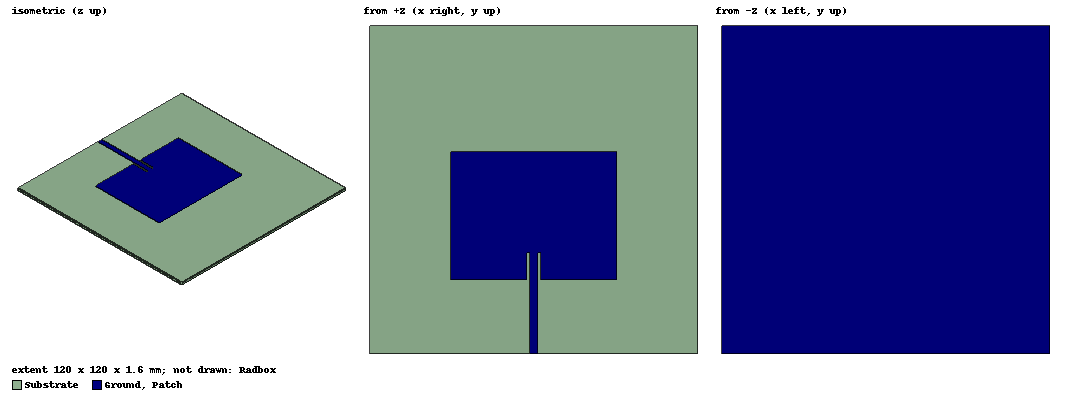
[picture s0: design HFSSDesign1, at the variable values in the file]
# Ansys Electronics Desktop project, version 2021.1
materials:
  vacuum: permittivity=1
  FR4_epoxy: permittivity=4.4 dielectric_loss_tangent=0.02

design HFSSDesign1 (HFSS, DrivenModal, model units mm)
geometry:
  Substrate [FR4_epoxy] = box(corner=(0mm, 0mm, 0mm), size=(120mm, 120mm, 1.6mm))
  Ground = rectangle(corner=(0mm, 0mm, 0mm), x_size=120mm, y_size=120mm)
  Patch = rectangle(corner=(29.5mm, 27mm, 1.6mm), x_size=61mm, y_size=47mm)
  Feedline = rectangle(corner=(58.5mm, 0mm, 1.6mm), x_size=3mm, y_size=27mm)
  Port = rectangle(corner=(58.5mm, 0mm, 1.6mm), z_size=-1.6mm, x_size=3mm)
  Radbox [vacuum] = box(corner=(-90mm, -90mm, -100mm), size=(300mm, 300mm, 200mm))
  If = rectangle(corner=(61.5mm, 27mm, 1.6mm), x_size=1mm, y_size=10mm)
  If2 = rectangle(corner=(58.5mm, 27mm, 1.6mm), x_size=-1mm, y_size=10mm)
  Patch.subtract(If, If2)
  Patch.unite(Feedline)
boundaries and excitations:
  PerfE2: Perfect E Objects=Ground
  Rad1: Radiation Objects=Radbox
  PerfE3: Perfect E Objects=Patch
  1: Lumped Port Objects=Port Modes{Mode1{IntLine{middle of Port.edge(z opposite corner) -> middle of Port.edge(z at corner)} CharImp=Zpi RenormImp=50ohm}} Impedance=50ohm
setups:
  Setup1: HfssDriven Frequency=1.5GHz MaxDeltaS=0.02 MaximumPasses=20 MinimumPasses=1 MinimumConvergedPasses=1 PercentRefinement=30 BasisOrder=1 PortAccuracy=2
    sweep Sweep: 0.75GHz to 2.25GHz, 401 points; Type=Fast SaveFields
  Setup2: HfssDriven Frequency=1.5GHz MaxDeltaS=0.02 MaximumPasses=20 MinimumPasses=1 MinimumConvergedPasses=1 PercentRefinement=30 BasisOrder=1 PortAccuracy=2
    sweep Sweep: 0.75GHz to 2.25GHz, 401 points; Type=Fast SaveFields
  Setup3: HfssDriven Frequency=1.5GHz MaxDeltaS=0.02 MaximumPasses=20 MinimumPasses=1 MinimumConvergedPasses=1 PercentRefinement=30 BasisOrder=1 PortAccuracy=2
    sweep Sweep: 0.75GHz to 2.25GHz, 401 points; Type=Fast SaveFields
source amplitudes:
  1:1: 1W 0deg
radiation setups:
  Infinite Sphere1: Infinite Sphere Theta=-180deg..180deg step 2deg Phi=0deg..360deg step 2deg
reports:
  S Parameter Plot 1: dB(S(1,1)) vs Freq on Setup1 : Sweep; markers m1 at 1.485GHz, m2 at 1.515GHz
  VSWR Plot 1: VSWR(1) vs Freq on Setup1 : Sweep; markers m1 at 1.515GHz, m2 at 1.485GHz
  Gain Plot 1: dB(GainTotal) vs Phi, Theta on Setup1 : LastAdaptive, Infinite Sphere1 [Freq=1.5GHz]
  Gain Plot 2: dB(GainTotal) vs Theta on Setup3 : Sweep, Infinite Sphere1 [Phi=0deg,90deg Freq=1.5GHz]; markers m1 at 0deg, m2 at -150deg
  Gain Plot 4: dB(GainTotal) vs Theta on Setup1 : LastAdaptive, Infinite Sphere1 [Phi=90deg Freq=1.5GHz]; markers m1 at 0deg, m2 at -152deg
  Gain Plot 5: dB(GainTotal) vs Theta on Setup1 : LastAdaptive, Infinite Sphere1 [Phi=0deg Freq=1.5GHz]; markers m1 at 0deg, m2 at 136deg
